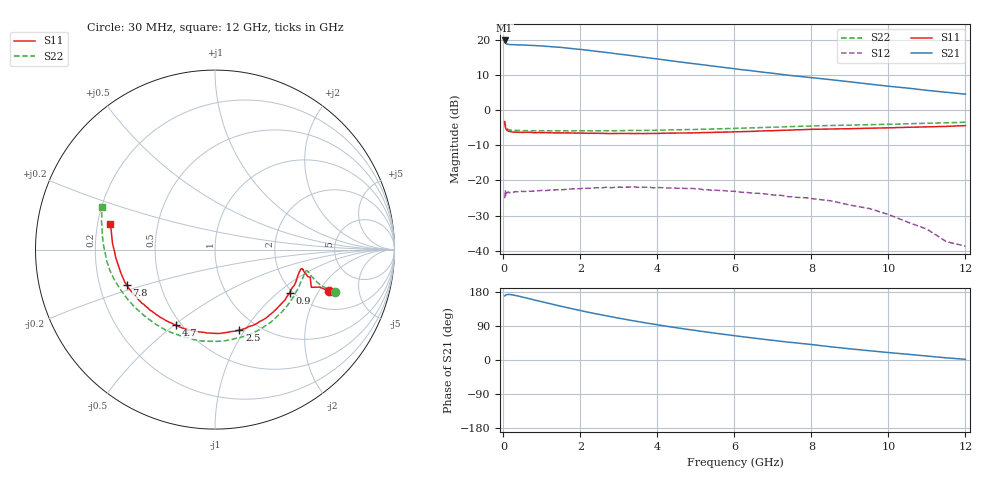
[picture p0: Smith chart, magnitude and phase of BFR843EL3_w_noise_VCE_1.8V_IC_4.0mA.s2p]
! Infineon Technologies  Discrete & RF Semiconductors
! BFR843EL3
! VCE =  1.8 V,  IC =  4.0 mA
! Common Emitter S-Parameters:  Aug 2013
# GHz  S  MA  R  50
!  f  S11  S21  S12  S22
! GHz  MAG  ANG  MAG  ANG  MAG  ANG  MAG  ANG
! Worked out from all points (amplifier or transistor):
!   103 points, 30 MHz to 12 GHz, reference 50 ohm
!   highest |S21| = 19.9 dB at 30 MHz (marker M1)
!   |S21| within 3 dB of that: start of sweep to 2.347 GHz
!   unconditionally stable (mu >= 1): 214.4 MHz to 295 MHz; 325.9 MHz to 356.4 MHz; 6.786 GHz to end of sweep
!   at 400 MHz: K = 1.00, MSG = 20.9 dB, |S12| = -23.2 dB
!   at 3.7 GHz: K = 0.76, MSG = 18.5 dB, |S12| = -21.9 dB
!   at 12 GHz: K = 8.53, MAG = 9.3 dB, |S12| = -38.7 dB
!   lowest NFmin = 0.92 dB at 900 MHz
!   S11 on the Smith chart (normalised r, x): 30 MHz: 2.91, -2.48; 900 MHz: 1.93, -1.21; 2.5 GHz: 0.82, -0.95; 4.7 GHz: 0.47, -0.51; 7.8 GHz: 0.32, -0.18; 12 GHz: 0.25, +0.11
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0.03  0.6762 -20.0  9.85 169.2  0.0558 37.0  0.7071 -19.5
0.04  0.6194 -19.7  9.446 169.9  0.061 27.8  0.6483 -19.1
0.05  0.5763 -21.4  9.262 171.0  0.0725 15.2  0.6157 -18.4
0.07  0.5379 -16.2  8.897 171.9  0.0647 17.1  0.5677 -16.0
0.1  0.5135 -14.2  8.731 172.8  0.0674 12.5  0.5428 -14.0
0.15  0.5016 -12.6  8.62 173.1  0.0667 9.6  0.5251 -12.9
0.45  0.4843 -17.5  8.514 167.2  0.0703 4.6  0.5123 -19.1
0.9  0.4809 -30.1  8.282 156.1  0.0714 3.3  0.5095 -33.8
1.5  0.4756 -47.5  7.838 141.7  0.0737 1.8  0.5101 -53.2
2.1  0.4719 -63.7  7.239 128.3  0.0783 -0.8  0.5094 -71.2
2.5  0.4684 -73.1  6.808 120.1  0.0791 -3.3  0.5096 -81.9
2.8  0.4658 -80.6  6.525 114.1  0.0788 -5.0  0.5113 -89.3
3.2  0.467 -89.3  6.117 106.6  0.0804 -7.5  0.5148 -98.4
4.1  0.4689 -106.4  5.276 91.3  0.0792 -13.6  0.5207 -116.3
4.7  0.4739 -117.1  4.774 82.0  0.0771 -17.5  0.5292 -126.9
5.4  0.4828 -127.6  4.282 72.1  0.0726 -22.6  0.5405 -137.4
6.1  0.4954 -137.2  3.833 62.9  0.069 -26.7  0.5537 -146.9
6.9  0.5111 -147.5  3.407 53.0  0.0633 -30.3  0.5709 -156.6
7.8  0.5291 -158.0  2.988 43.0  0.0568 -34.5  0.5922 -166.5
8.5  0.5404 -165.9  2.725 34.9  0.0514 -39.9  0.6062 -173.9
10.5  0.5717 176.7  2.066 15.2  0.0255 -43.6  0.6413 169.3
12  0.604 166.1  1.692 1.8  0.0116 6.4  0.6745 159.2
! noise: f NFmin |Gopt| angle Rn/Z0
0.45  0.93  0.24  7  0.2
0.9  0.92  0.24  22  0.19
1.5  0.96  0.25  37  0.17
1.9  0.98  0.25  41  0.17
2.4  1.01  0.26  53  0.16
3.5  1.07  0.26  74  0.15
5.5  1.16  0.29  111  0.12
8  1.28  0.36  152  0.08
10  1.37  0.43  202  0.05
